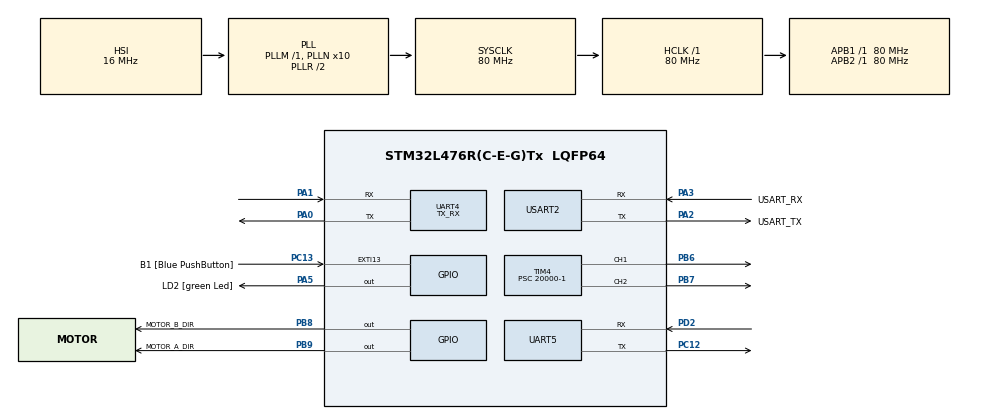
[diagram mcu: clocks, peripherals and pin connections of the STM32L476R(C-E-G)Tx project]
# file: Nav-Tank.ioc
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Mcu.Family=STM32L4
Mcu.Name=STM32L476R(C-E-G)Tx
Mcu.Package=LQFP64
NVIC.EXTI15_10_IRQn=true\:0\:0\:false\:false\:true\:true\:true\:true
NVIC.PriorityGroup=NVIC_PRIORITYGROUP_4
NVIC.TIM4_IRQn=true\:0\:0\:false\:false\:true\:true\:true\:true
NVIC.UART4_IRQn=true\:0\:0\:false\:false\:true\:true\:true\:true
NVIC.UART5_IRQn=true\:0\:0\:false\:false\:true\:true\:true\:true
NVIC.USART2_IRQn=true\:0\:0\:false\:false\:true\:true\:true\:true
PA0.Mode=Asynchronous
PA0.Signal=UART4_TX
PA1.Mode=Asynchronous
PA1.Signal=UART4_RX
PA13\ (JTMS-SWDIO).GPIO_Label=TMS
PA13\ (JTMS-SWDIO).Mode=Serial_Wire
PA13\ (JTMS-SWDIO).Signal=SYS_JTMS-SWDIO
PA14\ (JTCK-SWCLK).GPIO_Label=TCK
PA14\ (JTCK-SWCLK).Mode=Serial_Wire
PA14\ (JTCK-SWCLK).Signal=SYS_JTCK-SWCLK
PA2.GPIO_Label=USART_TX
PA2.GPIO_Mode=GPIO_MODE_AF_PP
PA2.GPIO_PuPd=GPIO_NOPULL
PA2.GPIO_Speed=GPIO_SPEED_FREQ_VERY_HIGH
PA2.Mode=Asynchronous
PA2.Signal=USART2_TX
PA3.GPIO_Label=USART_RX
PA3.GPIO_Mode=GPIO_MODE_AF_PP
PA3.GPIO_PuPd=GPIO_NOPULL
PA3.GPIO_Speed=GPIO_SPEED_FREQ_VERY_HIGH
PA3.Mode=Asynchronous
PA3.Signal=USART2_RX
PA5.GPIO_Label=LD2 [green Led]
PA5.GPIO_ModeDefaultOutputPP=GPIO_MODE_OUTPUT_PP
PA5.GPIO_PuPd=GPIO_NOPULL
PA5.GPIO_Speed=GPIO_SPEED_FREQ_LOW
PA5.Signal=GPIO_Output
PB3\ (JTDO-TRACESWO).GPIO_Label=SWO
PB3\ (JTDO-TRACESWO).Signal=SYS_JTDO-SWO
PB6.Signal=S_TIM4_CH1
PB7.Signal=S_TIM4_CH2
PB8.GPIO_Label=MOTOR_B_DIR
PB8.Signal=GPIO_Output
PB9.GPIO_Label=MOTOR_A_DIR
PB9.Signal=GPIO_Output
PC12.Mode=Asynchronous
PC12.Signal=UART5_TX
PC13.GPIO_Label=B1 [Blue PushButton]
PC13.GPIO_ModeDefaultEXTI=GPIO_MODE_IT_FALLING
PC13.GPIO_PuPd=GPIO_NOPULL
PC13.Signal=GPXTI13
PC14-OSC32_IN\ (PC14).Mode=LSE-External-Oscillator
PC14-OSC32_IN\ (PC14).Signal=RCC_OSC32_IN
PC15-OSC32_OUT\ (PC15).Mode=LSE-External-Oscillator
PC15-OSC32_OUT\ (PC15).Signal=RCC_OSC32_OUT
PD2.Mode=Asynchronous
PD2.Signal=UART5_RX
PH0-OSC_IN\ (PH0).Signal=RCC_OSC_IN
PH1-OSC_OUT\ (PH1).Signal=RCC_OSC_OUT
ProjectManager.HeapSize=0x200
ProjectManager.StackSize=0x400
ProjectManager.TargetToolchain=STM32CubeIDE
RCC.ADCFreq_Value=64000000
RCC.AHBFreq_Value=80000000
RCC.APB1Freq_Value=80000000
RCC.APB1TimFreq_Value=80000000
RCC.APB2Freq_Value=80000000
RCC.APB2TimFreq_Value=80000000
RCC.CortexFreq_Value=80000000
RCC.HCLKFreq_Value=80000000
RCC.HSE_VALUE=8000000
RCC.HSI_VALUE=16000000
RCC.MSI_VALUE=4000000
RCC.PLLN=10
RCC.PLLSourceVirtual=RCC_PLLSOURCE_HSI
RCC.PREFETCH_ENABLE=1
RCC.SYSCLKFreq_VALUE=80000000
RCC.SYSCLKSource=RCC_SYSCLKSOURCE_PLLCLK
RCC.USBFreq_Value=64000000
RCC.VCOOutputFreq_Value=160000000
SH.S_TIM4_CH1.0=TIM4_CH1,PWM Generation1 CH1
SH.S_TIM4_CH2.0=TIM4_CH2,PWM Generation2 CH2
TIM4.Channel-PWM\ Generation1\ CH1=TIM_CHANNEL_1
TIM4.Channel-PWM\ Generation2\ CH2=TIM_CHANNEL_2
TIM4.Period=256-1
TIM4.Prescaler=20000-1
UART4.Mode=MODE_TX_RX
USART2.VirtualMode-Asynchronous=VM_ASYNC
board=NUCLEO-L476RG

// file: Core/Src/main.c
/* USER CODE BEGIN Header */
/**
******************************************************************************
* @file           : main.c
* @brief          : Main program body
******************************************************************************
* @attention
*
* Copyright (c) 2026 STMicroelectronics.
* All rights reserved.
*
* This software is licensed under terms that can be found in the LICENSE file
* in the root directory of this software component.
* If no LICENSE file comes with this software, it is provided AS-IS.
*
******************************************************************************
*/
/* USER CODE END Header */
#include "main.h"

/* USER CODE BEGIN Includes */

#include "motor.h"
#include "robot.h"
#include <stdio.h>
#include <stdbool.h>

/* USER CODE END Includes */

TIM_HandleTypeDef htim4;

UART_HandleTypeDef huart4;
UART_HandleTypeDef huart5;
UART_HandleTypeDef huart2;

/* USER CODE BEGIN PV */
Motor_t motor1;
Motor_t motor2;
Robot_t robot;

/* USER CODE END PV */

void SystemClock_Config(void);
static void MX_GPIO_Init(void);
static void MX_UART4_Init(void);
static void MX_UART5_Init(void);
static void MX_USART2_UART_Init(void);
static void MX_TIM4_Init(void);

/* USER CODE BEGIN 0 */

uint8_t rx_data4;
uint8_t rx_index_data4;
char recvd_data4[32];
bool process_uart4 = false; // Flag for processing said data

float data4_beacon_lat = 0;
float data4_beacon_lon = 0;

float data4_tracker_lat = 0;
float data4_tracker_lon = 0;

int data4_rssi = 0;

uint8_t rx_data5;
uint8_t rx_index_data5;
char recvd_data5[32];
bool process_uart5 = false; // Flag for processing said data

float data5_beacon_lat = 0;
float data5_beacon_lon = 0;

float data5_tracker_lat = 0;
float data5_tracker_lon = 0;

int data5_rssi = 0;

/* USER CODE END 0 */

int main(void)
{

  /* MCU Configuration--------------------------------------------------------*/

  /* Reset of all peripherals, Initializes the Flash interface and the Systick. */
  HAL_Init();

  /* Configure the system clock */
  SystemClock_Config();

  /* Initialize all configured peripherals */
  MX_GPIO_Init();
  MX_UART4_Init();
  MX_UART5_Init();
  MX_USART2_UART_Init();
  MX_TIM4_Init();
  /* USER CODE BEGIN 2 */
  // Initialize the motors
  Motor_Init(&motor1, &htim4, TIM_CHANNEL_1, MOTOR_A_DIR_GPIO_Port, MOTOR_A_DIR_Pin);
  Motor_Init(&motor2, &htim4, TIM_CHANNEL_2, MOTOR_B_DIR_GPIO_Port, MOTOR_B_DIR_Pin);
  Robot_Init(&robot, &motor1, &motor2);

  // Initialize the UART for the ESP32 boards
  HAL_UART_Receive_IT(&huart4, &rx_data4, 1); //start next data receive interrupt
  HAL_UART_Receive_IT(&huart5, &rx_data5, 1); //start next data receive interrupt

  /* USER CODE END 2 */

  /* Infinite loop */
  /* USER CODE BEGIN WHILE */
  while (1)
    {
      // Test sequence: (Note that using delays is not good in the main loop as the code for processing the uart has to run frequently.
      //Robot_Forward(&robot, 128, 0);
	  //HAL_Delay(1000);
	  //Robot_Forward(&robot, 128, 64);
	  //HAL_Delay(1000);
	  //Robot_Forward(&robot, 128, -64);
      //HAL_Delay(1000);
	  //Robot_Spin(&robot, 128);
	  //HAL_Delay(1000);
	  //Robot_Spin(&robot, -128);
	  //HAL_Delay(1000);
	  //Robot_Backward(&robot, 128, 0);
	  //HAL_Delay(1000);
	  //Robot_Backward(&robot, 128, 64);
	  //HAL_Delay(1000);
	  //Robot_Backward(&robot, 128, -64);
	  //HAL_Delay(1000);
	  //Robot_Stop(&robot);
	  //HAL_Delay(5000);

	  	  //Robot_Spin(&robot, 128);
	  	  //Robot_Spin(&robot, -128);
	  	  //Robot_Backward(&robot, 128, 0);
	  	  //Robot_Stop(&robot);

	  //if (data4_tracker_lat > data4_tracker_lat)
	  //if (data4_beacon_lon > data4_tracker_lon)
	  //if (data5_tracker_lat > data5_tracker_lat)
	  //if (data5_beacon_lon > data5_tracker_lon)

	  if (data4_rssi > data5_rssi+3)
	  	  Robot_Forward(&robot, 128, 64);
	  else if (data4_rssi+3 < data5_rssi)
	      Robot_Forward(&robot, 128, -64);
	  //else if (data4_rssi > -65 && data5_rssi > -65)
		  //Robot_Stop(&robot);
	  else
	  	  Robot_Forward(&robot, 128, 0);

      // Parsing code for the data from the ESP32 boards. Needs to run frequently
      if (process_uart4) {
        if ('G' == recvd_data4[0]) {
          sscanf(recvd_data4, "GPS: %f,%f", &data4_beacon_lat, &data4_beacon_lon);
        } else if ('-' == recvd_data4[0]) {
          sscanf(recvd_data4, "%d", &data4_rssi);
        } else {
          sscanf(recvd_data4, "%f,%f", &data4_tracker_lat, &data4_tracker_lon);
        }
        process_uart4 = false;
      }

      if (process_uart5) {
        if ('G' == recvd_data5[0]) {
          sscanf(recvd_data5, "GPS: %f,%f", &data5_beacon_lat, &data5_beacon_lon);
        } else if ('-' == recvd_data5[0]) {
          sscanf(recvd_data5, "%d", &data5_rssi);
        } else {
          sscanf(recvd_data5, "%f,%f", &data5_tracker_lat, &data5_tracker_lon);
        }
        process_uart5 = false;
      }

    /* USER CODE END WHILE */

    }
}

void SystemClock_Config(void)
{
  RCC_OscInitTypeDef RCC_OscInitStruct = {0};
  RCC_ClkInitTypeDef RCC_ClkInitStruct = {0};

  /** Configure the main internal regulator output voltage
  */
  if (HAL_PWREx_ControlVoltageScaling(PWR_REGULATOR_VOLTAGE_SCALE1) != HAL_OK)
  {
    Error_Handler();
  }

  /** Initializes the RCC Oscillators according to the specified parameters
  * in the RCC_OscInitTypeDef structure.
  */
  RCC_OscInitStruct.OscillatorType = RCC_OSCILLATORTYPE_HSI;
  RCC_OscInitStruct.HSIState = RCC_HSI_ON;
  RCC_OscInitStruct.HSICalibrationValue = RCC_HSICALIBRATION_DEFAULT;
  RCC_OscInitStruct.PLL.PLLState = RCC_PLL_ON;
  RCC_OscInitStruct.PLL.PLLSource = RCC_PLLSOURCE_HSI;
  RCC_OscInitStruct.PLL.PLLM = 1;
  RCC_OscInitStruct.PLL.PLLN = 10;
  RCC_OscInitStruct.PLL.PLLP = RCC_PLLP_DIV7;
  RCC_OscInitStruct.PLL.PLLQ = RCC_PLLQ_DIV2;
  RCC_OscInitStruct.PLL.PLLR = RCC_PLLR_DIV2;
  if (HAL_RCC_OscConfig(&RCC_OscInitStruct) != HAL_OK)
  {
    Error_Handler();
  }

  /** Initializes the CPU, AHB and APB buses clocks
  */
  RCC_ClkInitStruct.ClockType = RCC_CLOCKTYPE_HCLK|RCC_CLOCKTYPE_SYSCLK
                              |RCC_CLOCKTYPE_PCLK1|RCC_CLOCKTYPE_PCLK2;
  RCC_ClkInitStruct.SYSCLKSource = RCC_SYSCLKSOURCE_PLLCLK;
  RCC_ClkInitStruct.AHBCLKDivider = RCC_SYSCLK_DIV1;
  RCC_ClkInitStruct.APB1CLKDivider = RCC_HCLK_DIV1;
  RCC_ClkInitStruct.APB2CLKDivider = RCC_HCLK_DIV1;

  if (HAL_RCC_ClockConfig(&RCC_ClkInitStruct, FLASH_LATENCY_4) != HAL_OK)
  {
    Error_Handler();
  }
}

static void MX_TIM4_Init(void)
{

  TIM_MasterConfigTypeDef sMasterConfig = {0};
  TIM_OC_InitTypeDef sConfigOC = {0};

  htim4.Instance = TIM4;
  htim4.Init.Prescaler = 20000-1;
  htim4.Init.CounterMode = TIM_COUNTERMODE_UP;
  htim4.Init.Period = 256-1;
  htim4.Init.ClockDivision = TIM_CLOCKDIVISION_DIV1;
  htim4.Init.AutoReloadPreload = TIM_AUTORELOAD_PRELOAD_DISABLE;
  if (HAL_TIM_PWM_Init(&htim4) != HAL_OK)
  {
    Error_Handler();
  }
  sMasterConfig.MasterOutputTrigger = TIM_TRGO_RESET;
  sMasterConfig.MasterSlaveMode = TIM_MASTERSLAVEMODE_DISABLE;
  if (HAL_TIMEx_MasterConfigSynchronization(&htim4, &sMasterConfig) != HAL_OK)
  {
    Error_Handler();
  }
  sConfigOC.OCMode = TIM_OCMODE_PWM1;
  sConfigOC.Pulse = 0;
  sConfigOC.OCPolarity = TIM_OCPOLARITY_HIGH;
  sConfigOC.OCFastMode = TIM_OCFAST_DISABLE;
  if (HAL_TIM_PWM_ConfigChannel(&htim4, &sConfigOC, TIM_CHANNEL_1) != HAL_OK)
  {
    Error_Handler();
  }
  if (HAL_TIM_PWM_ConfigChannel(&htim4, &sConfigOC, TIM_CHANNEL_2) != HAL_OK)
  {
    Error_Handler();
  }
  HAL_TIM_MspPostInit(&htim4);

}

static void MX_UART4_Init(void)
{

  huart4.Instance = UART4;
  huart4.Init.BaudRate = 115200;
  huart4.Init.WordLength = UART_WORDLENGTH_8B;
  huart4.Init.StopBits = UART_STOPBITS_1;
  huart4.Init.Parity = UART_PARITY_NONE;
  huart4.Init.Mode = UART_MODE_TX_RX;
  huart4.Init.HwFlowCtl = UART_HWCONTROL_NONE;
  huart4.Init.OverSampling = UART_OVERSAMPLING_16;
  huart4.Init.OneBitSampling = UART_ONE_BIT_SAMPLE_DISABLE;
  huart4.AdvancedInit.AdvFeatureInit = UART_ADVFEATURE_NO_INIT;
  if (HAL_UART_Init(&huart4) != HAL_OK)
  {
    Error_Handler();
  }

}

static void MX_UART5_Init(void)
{

  huart5.Instance = UART5;
  huart5.Init.BaudRate = 115200;
  huart5.Init.WordLength = UART_WORDLENGTH_8B;
  huart5.Init.StopBits = UART_STOPBITS_1;
  huart5.Init.Parity = UART_PARITY_NONE;
  huart5.Init.Mode = UART_MODE_TX_RX;
  huart5.Init.HwFlowCtl = UART_HWCONTROL_NONE;
  huart5.Init.OverSampling = UART_OVERSAMPLING_16;
  huart5.Init.OneBitSampling = UART_ONE_BIT_SAMPLE_DISABLE;
  huart5.AdvancedInit.AdvFeatureInit = UART_ADVFEATURE_NO_INIT;
  if (HAL_UART_Init(&huart5) != HAL_OK)
  {
    Error_Handler();
  }

}

static void MX_USART2_UART_Init(void)
{

  huart2.Instance = USART2;
  huart2.Init.BaudRate = 115200;
  huart2.Init.WordLength = UART_WORDLENGTH_8B;
  huart2.Init.StopBits = UART_STOPBITS_1;
  huart2.Init.Parity = UART_PARITY_NONE;
  huart2.Init.Mode = UART_MODE_TX_RX;
  huart2.Init.HwFlowCtl = UART_HWCONTROL_NONE;
  huart2.Init.OverSampling = UART_OVERSAMPLING_16;
  huart2.Init.OneBitSampling = UART_ONE_BIT_SAMPLE_DISABLE;
  huart2.AdvancedInit.AdvFeatureInit = UART_ADVFEATURE_NO_INIT;
  if (HAL_UART_Init(&huart2) != HAL_OK)
  {
    Error_Handler();
  }

}

static void MX_GPIO_Init(void)
{
  GPIO_InitTypeDef GPIO_InitStruct = {0};

  /* GPIO Ports Clock Enable */
  __HAL_RCC_GPIOC_CLK_ENABLE();
  __HAL_RCC_GPIOH_CLK_ENABLE();
  __HAL_RCC_GPIOA_CLK_ENABLE();
  __HAL_RCC_GPIOD_CLK_ENABLE();
  __HAL_RCC_GPIOB_CLK_ENABLE();

  /*Configure GPIO pin Output Level */
  HAL_GPIO_WritePin(LD2_GPIO_Port, LD2_Pin, GPIO_PIN_RESET);

  /*Configure GPIO pin Output Level */
  HAL_GPIO_WritePin(GPIOB, MOTOR_B_DIR_Pin|MOTOR_A_DIR_Pin, GPIO_PIN_RESET);

  /*Configure GPIO pin : B1_Pin */
  GPIO_InitStruct.Pin = B1_Pin;
  GPIO_InitStruct.Mode = GPIO_MODE_IT_FALLING;
  GPIO_InitStruct.Pull = GPIO_NOPULL;
  HAL_GPIO_Init(B1_GPIO_Port, &GPIO_InitStruct);

  /*Configure GPIO pin : LD2_Pin */
  GPIO_InitStruct.Pin = LD2_Pin;
  GPIO_InitStruct.Mode = GPIO_MODE_OUTPUT_PP;
  GPIO_InitStruct.Pull = GPIO_NOPULL;
  GPIO_InitStruct.Speed = GPIO_SPEED_FREQ_LOW;
  HAL_GPIO_Init(LD2_GPIO_Port, &GPIO_InitStruct);

  /*Configure GPIO pins : MOTOR_B_DIR_Pin MOTOR_A_DIR_Pin */
  GPIO_InitStruct.Pin = MOTOR_B_DIR_Pin|MOTOR_A_DIR_Pin;
  GPIO_InitStruct.Mode = GPIO_MODE_OUTPUT_PP;
  GPIO_InitStruct.Pull = GPIO_NOPULL;
  GPIO_InitStruct.Speed = GPIO_SPEED_FREQ_LOW;
  HAL_GPIO_Init(GPIOB, &GPIO_InitStruct);

  /* EXTI interrupt init*/
  HAL_NVIC_SetPriority(EXTI15_10_IRQn, 0, 0);
  HAL_NVIC_EnableIRQ(EXTI15_10_IRQn);

}

/* USER CODE BEGIN 4 */

// UART callback for collecting the data.
void HAL_UART_RxCpltCallback(UART_HandleTypeDef *huart)
{
  if (huart == &huart4) {
    recvd_data4[rx_index_data4++] = rx_data4;
    if (rx_data4 == '\n' || rx_index_data4 >= sizeof(recvd_data4) - 1) {
      recvd_data4[rx_index_data4] = '\0';
      rx_index_data4 = 0; // Reset index for the next line
      process_uart4 = true;
    }

    HAL_UART_Receive_IT(&huart4, &rx_data4, 1);
  } else if (huart == &huart5) {
    recvd_data5[rx_index_data5++] = rx_data5;
    if(rx_data5 == '\n' || rx_index_data5 >= sizeof(recvd_data5) - 1) {
    	recvd_data5[rx_index_data5] = '\0';
      rx_index_data5 = 0; // Reset index for the next line
      process_uart5 = true;
    }

    HAL_UART_Receive_IT(&huart5, &rx_data5, 1);
  }
}

/* USER CODE END 4 */

void Error_Handler(void)
{
  __disable_irq();
  while (1)
    {
    }
}
